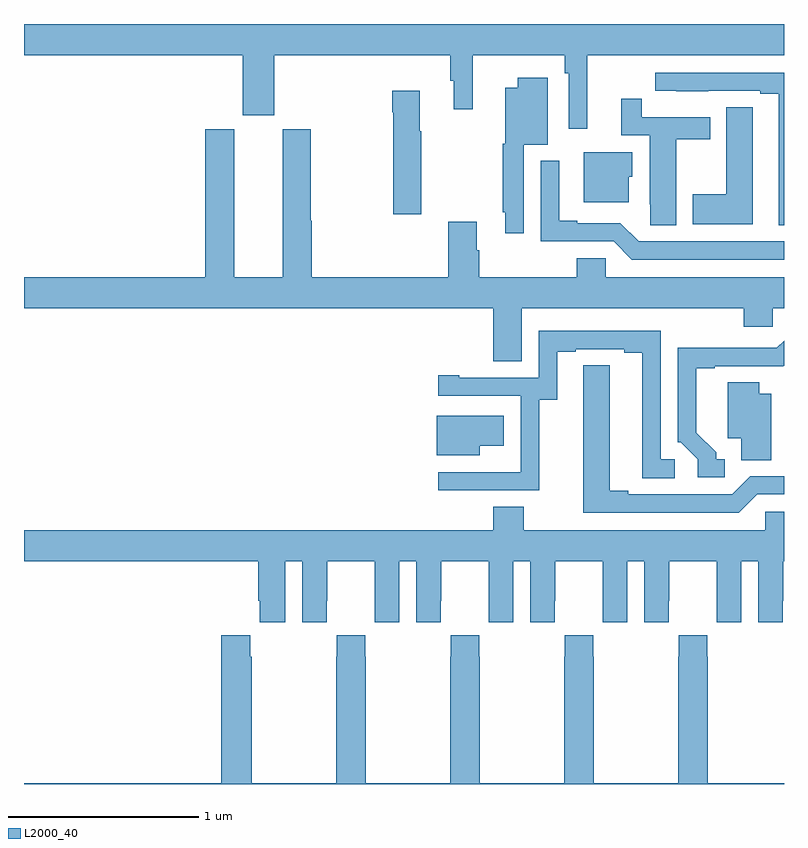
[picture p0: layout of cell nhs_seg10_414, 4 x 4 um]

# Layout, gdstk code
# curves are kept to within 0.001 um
import gdstk
lib = gdstk.Library(unit=1e-6, precision=1e-09)
def P(c, l, *ps):  # polygons
    for p in ps: c.add(gdstk.Polygon(p, *l))
L2000_40 = (2000, 40)

nhs_seg10_414 = lib.new_cell('nhs_seg10_414')
P(nhs_seg10_414, L2000_40, [(133.964,1280.336),(135,1280.336),(135,1280.5),(131,1280.5),(131,1280.336),(132.152,1280.336),(132.152,1280.019),(132.316,1280.019),(132.316,1280.336),(133.243,1280.336),(133.243,1280.202),(133.262,1280.202),(133.262,1280.052),(133.362,1280.052),(133.362,1280.336),(133.846,1280.336),(133.846,1280.24),(133.866,1280.24),(133.866,1279.95),(133.964,1279.95)],
  [(135,1280.244),(134.322,1280.244),(134.322,1280.148),(134.434,1280.148),(134.434,1280.147),(134.6,1280.147),(134.6,1280.148),(134.876,1280.148),(134.876,1280.133),(134.972,1280.133),(134.972,1279.441),(135,1279.441)],
  [(133.629,1279.865),(133.756,1279.865),(133.756,1280.218),(133.598,1280.218),(133.598,1280.164),(133.532,1280.164),(133.532,1279.869),(133.521,1279.869),(133.521,1279.51),(133.532,1279.51),(133.532,1279.398),(133.629,1279.398)],
  [(133.092,1279.936),(133.084,1279.936),(133.084,1280.149),(132.938,1280.149),(132.938,1280.036),(132.943,1280.036),(132.943,1279.5),(133.092,1279.5)],
  [(134.434,1279.894),(134.611,1279.894),(134.611,1280.01),(134.252,1280.01),(134.252,1280.107),(134.144,1280.107),(134.144,1279.914),(134.294,1279.914),(134.294,1279.552),(134.295,1279.552),(134.295,1279.441),(134.434,1279.441)],
  [(134.836,1279.955),(134.835,1279.955),(134.835,1280.063),(134.696,1280.063),(134.696,1279.605),(134.519,1279.605),(134.519,1279.445),(134.836,1279.445)],
  [(133.621,1279.004),(134.789,1279.004),(134.789,1278.906),(134.94,1278.906),(134.94,1279.004),(135,1279.004),(135,1279.168),(134.061,1279.168),(134.061,1279.266),(133.91,1279.266),(133.91,1279.168),(133.397,1279.168),(133.397,1279.31),(133.384,1279.31),(133.384,1279.459),(133.232,1279.459),(133.232,1279.168),(132.515,1279.168),(132.515,1279.464),(132.51,1279.464),(132.51,1279.947),(132.362,1279.947),(132.362,1279.168),(132.106,1279.168),(132.106,1279.947),(131.954,1279.947),(131.954,1279.168),(131,1279.168),(131,1279.004),(133.469,1279.004),(133.469,1278.724),(133.621,1278.724)],
  [(134.182,1279.695),(134.2,1279.695),(134.2,1279.825),(133.946,1279.825),(133.946,1279.562),(134.182,1279.562)],
  [(135,1279.356),(134.235,1279.356),(134.139,1279.452),(133.912,1279.452),(133.912,1279.465),(133.816,1279.465),(133.816,1279.78),(133.719,1279.78),(133.719,1279.356),(134.103,1279.356),(134.199,1279.26),(135,1279.26)],
  [(133.713,1278.523),(133.807,1278.523),(133.807,1278.774),(133.903,1278.774),(133.903,1278.789),(134.159,1278.789),(134.159,1278.769),(134.255,1278.769),(134.255,1278.109),(134.425,1278.109),(134.425,1278.21),(134.352,1278.21),(134.352,1278.885),(133.71,1278.885),(133.71,1278.639),(133.291,1278.639),(133.291,1278.652),(133.179,1278.652),(133.179,1278.543),(133.614,1278.543),(133.614,1278.142),(133.613,1278.142),(133.613,1278.141),(133.179,1278.141),(133.179,1278.045),(133.713,1278.045)],
  [(134.689,1278.21),(134.644,1278.21),(134.644,1278.245),(134.539,1278.35),(134.539,1278.687),(134.635,1278.687),(134.635,1278.699),(134.996,1278.698),(135,1278.702),(135,1278.834),(134.961,1278.795),(134.705,1278.795),(134.705,1278.797),(134.442,1278.797),(134.442,1278.3),(134.457,1278.3),(134.547,1278.21),(134.547,1278.114),(134.689,1278.114)],
  [(134.859,1278.024),(135,1278.024),(135,1278.12),(134.823,1278.12),(134.727,1278.024),(134.179,1278.024),(134.179,1278.044),(134.083,1278.044),(134.083,1278.704),(133.944,1278.704),(133.943,1277.928),(134.763,1277.928)],
  [(134.932,1278.553),(134.869,1278.553),(134.869,1278.614),(134.705,1278.614),(134.705,1278.32),(134.774,1278.32),(134.774,1278.205),(134.932,1278.205)],
  [(133.399,1278.281),(133.525,1278.281),(133.525,1278.439),(133.172,1278.439),(133.172,1278.23),(133.399,1278.23)],
  [(132.376,1277.672),(132.464,1277.672),(132.464,1277.352),(132.594,1277.352),(132.594,1277.464),(132.595,1277.464),(132.595,1277.672),(132.845,1277.672),(132.845,1277.464),(132.846,1277.464),(132.846,1277.352),(132.976,1277.352),(132.976,1277.672),(133.064,1277.672),(133.064,1277.352),(133.194,1277.352),(133.194,1277.464),(133.195,1277.464),(133.195,1277.672),(133.445,1277.672),(133.445,1277.464),(133.446,1277.464),(133.446,1277.352),(133.576,1277.352),(133.576,1277.672),(133.664,1277.672),(133.664,1277.352),(133.794,1277.352),(133.794,1277.464),(133.795,1277.464),(133.795,1277.672),(134.045,1277.672),(134.045,1277.464),(134.046,1277.464),(134.046,1277.352),(134.176,1277.352),(134.176,1277.672),(134.264,1277.672),(134.264,1277.352),(134.394,1277.352),(134.394,1277.464),(134.395,1277.464),(134.395,1277.672),(134.645,1277.672),(134.645,1277.464),(134.646,1277.464),(134.646,1277.352),(134.776,1277.352),(134.776,1277.672),(134.864,1277.672),(134.864,1277.352),(134.994,1277.352),(134.994,1277.464),(134.995,1277.464),(134.995,1277.672),(135,1277.672),(135,1277.934),(134.901,1277.934),(134.901,1277.836),(133.629,1277.836),(133.629,1277.96),(133.469,1277.96),(133.469,1277.836),(131,1277.836),(131,1277.672),(132.233,1277.672),(132.233,1277.464),(132.242,1277.464),(132.242,1277.352),(132.376,1277.352)],
  [(135,1276.504),(134.598,1276.504),(134.598,1277.171),(134.595,1277.171),(134.595,1277.284),(134.445,1277.284),(134.445,1277.171),(134.443,1277.171),(134.443,1276.504),(133.998,1276.504),(133.998,1277.171),(133.995,1277.171),(133.995,1277.284),(133.845,1277.284),(133.845,1277.171),(133.843,1277.171),(133.843,1276.504),(133.398,1276.504),(133.398,1277.171),(133.395,1277.171),(133.395,1277.284),(133.245,1277.284),(133.245,1277.171),(133.243,1277.171),(133.243,1276.504),(132.798,1276.504),(132.798,1277.171),(132.795,1277.171),(132.795,1277.284),(132.645,1277.284),(132.645,1277.171),(132.643,1277.171),(132.643,1276.504),(132.198,1276.504),(132.198,1277.171),(132.191,1277.171),(132.191,1277.284),(132.038,1277.284),(132.038,1276.504),(131,1276.504),(131,1276.5),(135,1276.5)])

lib.write_gds('nhs_seg10_414.gds')
